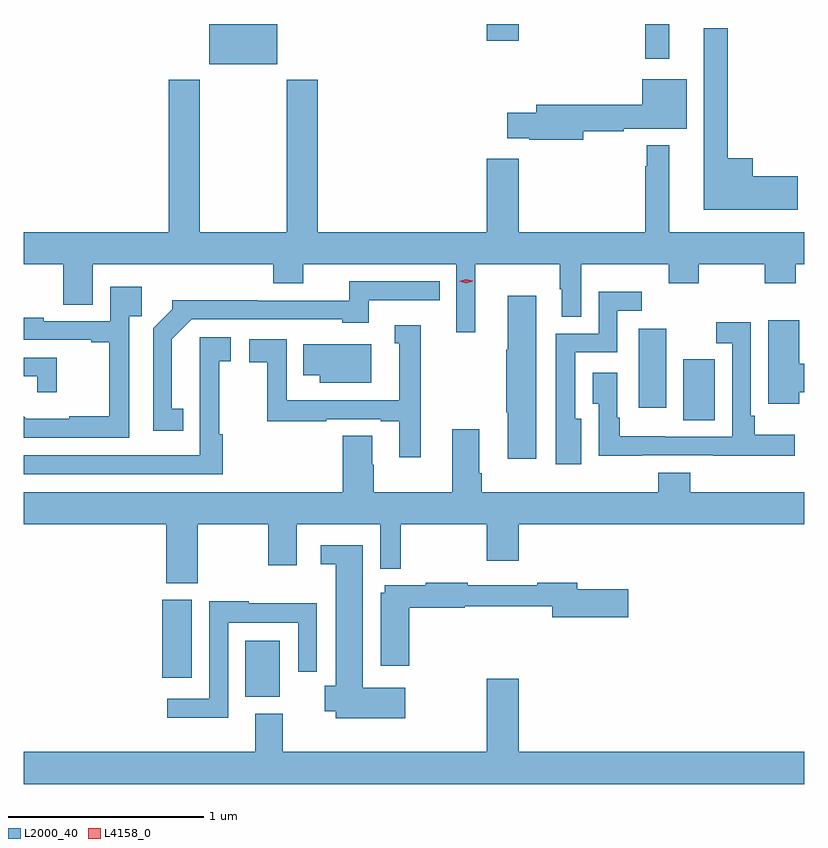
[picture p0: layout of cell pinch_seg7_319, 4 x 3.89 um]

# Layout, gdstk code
import gdstk
lib = gdstk.Library(unit=1e-6, precision=1e-09)
def R(c, l, rs):  # rectangles x0, y0, x1, y1
    for r in rs: c.add(gdstk.rectangle(r[:2], r[2:], *l))
def P(c, l, *ps):  # polygons
    for p in ps: c.add(gdstk.Polygon(p, *l))
L2000_40 = (2000, 40)
L4158_0 = (4158, 0)

pinch_seg7_319 = lib.new_cell('pinch_seg7_319')
R(pinch_seg7_319, L2000_40, [(427.508,1050.347,427.684,1050.634), (427.082,1050.444,427.234,1050.843), (429.752,1051.765,429.913,1052.076), (429.524,1051.827,429.664,1052.233), (427.322,1053.587,427.672,1053.794), (429.558,1053.615,429.679,1053.794), (428.744,1053.708,428.908,1053.794)])
P(pinch_seg7_319, L2000_40, [(430.339,1053.014),(430.108,1053.014),(430.108,1053.106),(429.979,1053.106),(429.979,1053.772),(429.857,1053.772),(429.857,1052.843),(430.339,1052.843)],
  [(429.238,1053.244),(429.446,1053.244),(429.446,1053.257),(429.769,1053.257),(429.769,1053.511),(429.542,1053.511),(429.542,1053.38),(428.999,1053.38),(428.999,1053.339),(428.85,1053.339),(428.85,1053.209),(428.962,1053.209),(428.962,1053.202),(429.238,1053.202)],
  [(428.686,1052.564),(429.118,1052.564),(429.118,1052.436),(429.128,1052.436),(429.128,1052.293),(429.229,1052.293),(429.229,1052.564),(429.676,1052.564),(429.676,1052.465),(429.831,1052.465),(429.831,1052.564),(430.168,1052.564),(430.168,1052.465),(430.328,1052.465),(430.328,1052.564),(430.372,1052.564),(430.372,1052.728),(429.679,1052.728),(429.679,1053.172),(429.564,1053.172),(429.564,1053.065),(429.558,1053.065),(429.558,1052.728),(428.908,1052.728),(428.908,1053.103),(428.744,1053.103),(428.744,1052.728),(427.88,1052.728),(427.88,1053.508),(427.72,1053.508),(427.72,1052.728),(427.275,1052.728),(427.275,1053.508),(427.115,1053.508),(427.115,1052.728),(426.372,1052.728),(426.372,1052.564),(426.575,1052.564),(426.575,1052.356),(426.727,1052.356),(426.727,1052.564),(427.652,1052.564),(427.652,1052.465),(427.804,1052.465),(427.804,1052.564),(428.589,1052.564),(428.589,1052.214),(428.686,1052.214)],
  [(427.19,1051.823),(427.132,1051.823),(427.132,1052.179),(427.233,1052.28),(428.004,1052.28),(428.004,1052.264),(428.14,1052.264),(428.14,1052.379),(428.504,1052.379),(428.504,1052.475),(428.041,1052.475),(428.041,1052.376),(427.568,1052.376),(427.568,1052.378),(427.134,1052.378),(427.134,1052.333),(427.035,1052.234),(427.035,1051.71),(427.19,1051.71)],
  [(426.912,1052.297),(426.977,1052.297),(426.977,1052.449),(426.816,1052.449),(426.816,1052.271),(426.475,1052.271),(426.475,1052.29),(426.372,1052.29),(426.372,1052.175),(426.719,1052.175),(426.719,1052.163),(426.811,1052.163),(426.811,1051.783),(426.605,1051.783),(426.605,1051.771),(426.386,1051.771),(426.372,1051.785),(426.372,1051.674),(426.912,1051.674)],
  [(429.229,1051.771),(429.199,1051.771),(429.199,1052.112),(429.414,1052.112),(429.414,1052.325),(429.538,1052.325),(429.538,1052.422),(429.318,1052.422),(429.318,1052.208),(429.098,1052.208),(429.098,1051.539),(429.229,1051.539)],
  [(428.998,1052.401),(428.852,1052.401),(428.852,1052.126),(428.845,1052.126),(428.845,1051.804),(428.852,1051.804),(428.852,1051.566),(428.998,1051.566)],
  [(430.346,1051.907),(430.372,1051.907),(430.372,1052.054),(430.346,1052.054),(430.346,1052.275),(430.187,1052.275),(430.187,1051.848),(430.346,1051.848)],
  [(429.539,1051.584),(429.905,1051.584),(429.905,1051.583),(430.324,1051.583),(430.324,1051.69),(430.118,1051.69),(430.118,1051.786),(430.098,1051.786),(430.098,1052.266),(429.921,1052.266),(429.921,1052.157),(430.002,1052.157),(430.002,1051.68),(429.656,1051.68),(429.656,1051.681),(429.427,1051.681),(429.427,1051.777),(429.414,1051.777),(429.414,1052.008),(429.287,1052.008),(429.287,1051.849),(429.318,1051.849),(429.318,1051.583),(429.539,1051.583)],
  [(428.407,1052.251),(428.273,1052.251),(428.273,1052.157),(428.297,1052.157),(428.297,1051.866),(427.719,1051.866),(427.719,1052.178),(427.527,1052.178),(427.527,1052.062),(427.621,1052.062),(427.621,1051.758),(427.922,1051.758),(427.922,1051.77),(428.201,1051.77),(428.201,1051.758),(428.297,1051.758),(428.297,1051.575),(428.407,1051.575)],
  [(427.391,1051.691),(427.374,1051.691),(427.374,1052.067),(427.432,1052.067),(427.432,1052.188),(427.274,1052.188),(427.274,1051.912),(427.275,1051.912),(427.275,1051.584),(426.372,1051.584),(426.372,1051.488),(427.391,1051.488)],
  [(428.152,1052.152),(427.804,1052.152),(427.804,1051.994),(427.889,1051.994),(427.889,1051.955),(428.152,1051.955)],
  [(426.542,1052.085),(426.372,1052.085),(426.372,1051.989),(426.441,1051.989),(426.441,1051.908),(426.542,1051.908)],
  [(427.263,1051.232),(427.624,1051.232),(427.624,1051.02),(427.771,1051.02),(427.771,1051.232),(428.198,1051.232),(428.198,1051.003),(428.304,1051.003),(428.304,1051.232),(428.744,1051.232),(428.744,1051.044),(428.908,1051.044),(428.908,1051.232),(430.372,1051.232),(430.372,1051.396),(429.788,1051.396),(429.788,1051.495),(429.623,1051.495),(429.623,1051.396),(428.72,1051.396),(428.72,1051.492),(428.707,1051.492),(428.707,1051.717),(428.567,1051.717),(428.567,1051.396),(428.166,1051.396),(428.166,1051.535),(428.158,1051.535),(428.158,1051.685),(428.006,1051.685),(428.006,1051.396),(426.372,1051.396),(426.372,1051.232),(427.103,1051.232),(427.103,1050.928),(427.263,1050.928)],
  [(428.326,1050.394),(428.11,1050.394),(428.11,1051.122),(427.893,1051.122),(427.893,1051.025),(427.97,1051.025),(427.97,1050.404),(427.915,1050.404),(427.915,1050.272),(427.97,1050.272),(427.97,1050.236),(428.326,1050.236)],
  [(428.348,1050.802),(428.631,1050.802),(428.631,1050.81),(429.08,1050.81),(429.08,1050.755),(429.469,1050.755),(429.469,1050.897),(429.208,1050.897),(429.208,1050.931),(429.004,1050.931),(429.004,1050.918),(428.648,1050.918),(428.648,1050.931),(428.431,1050.931),(428.431,1050.918),(428.222,1050.918),(428.222,1050.879),(428.201,1050.879),(428.201,1050.507),(428.348,1050.507)],
  [(427.419,1050.725),(427.779,1050.725),(427.779,1050.474),(427.874,1050.474),(427.874,1050.586),(427.875,1050.586),(427.875,1050.826),(427.526,1050.826),(427.526,1050.836),(427.323,1050.836),(427.323,1050.336),(427.107,1050.336),(427.107,1050.239),(427.419,1050.239)],
  [(430.372,1050.064),(428.908,1050.064),(428.908,1050.439),(428.744,1050.439),(428.744,1050.064),(427.699,1050.064),(427.699,1050.259),(427.559,1050.259),(427.559,1050.064),(426.372,1050.064),(426.372,1049.9),(430.372,1049.9)])
P(pinch_seg7_319, L4158_0, [(428.639,1052.466),(428.603,1052.475),(428.603,1052.475),(428.603,1052.475),(428.638,1052.486),(428.674,1052.478),(428.674,1052.477),(428.674,1052.477)])

lib.write_gds('pinch_seg7_319.gds')
